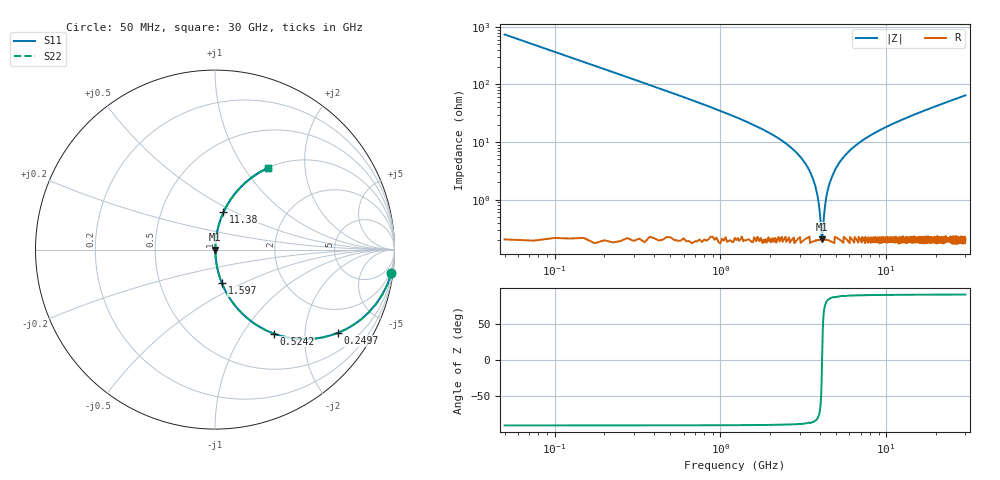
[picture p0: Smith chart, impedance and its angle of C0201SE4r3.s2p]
!	AVX Thin Film Operation 	Date: April 2014
!	Description: Accu-P® Series, Thin Film  SMD RF Capacitor
!	Part Number: 02013K4R3ABSTR
# MHZ S MA R 50
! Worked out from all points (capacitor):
!   1201 points, 50 MHz to 30 GHz, reference 50 ohm
!   read as one part in series: C = 4.3 pF near 199.8 MHz
!   lowest |Z| = 204 mohm at 4.093 GHz (marker M1)
!   series resonance near 4.101 GHz, so ESL is about 350 pH
!   S11 on the Smith chart (normalised r, x): 50 MHz: 1, -15; 249.7 MHz: 1.00, -2.96; 524.2 MHz: 1.00, -1.39; 1.597 GHz: 1.00, -0.39; 11.38 GHz: 1.00, +0.44; 30 GHz: 1.00, +1.30
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50  0.991 -7.7  0.134 82.3  0.134 82.3  0.991 -7.7
249.667  0.828 -34.1  0.56 55.8  0.56 55.8  0.828 -34.1
524.208  0.57 -55.1  0.82 34.7  0.82 34.7  0.57 -55.1
923.542  0.355 -68.9  0.933 20.8  0.933 20.8  0.355 -68.9
1597.417  0.192 -78.3  0.979 11.1  0.979 11.1  0.192 -78.3
2745.5  0.074 -84.2  0.995 4.2  0.995 4.2  0.074 -84.2
3369.458  0.036 -84.7  0.997 2.0  0.997 2.0  0.036 -84.7
3743.833  0.017 -82.1  0.998 0.9  0.998 0.9  0.017 -82.1
3993.417  0.005197 -67.0  0.998 0.3  0.998 0.3  0.005197 -67.0
4093.25  0.002036 -9.7  0.998 0.0  0.998 0.0  0.002036 -9.7
4193.083  0.004471 63.1  0.998 -0.2  0.998 -0.2  0.004471 63.1
4342.833  0.011 78.4  0.998 -0.6  0.998 -0.6  0.011 78.4
4492.583  0.017 82.1  0.998 -0.9  0.998 -0.9  0.017 82.1
5041.667  0.037 84.8  0.997 -2.1  0.997 -2.1  0.037 84.8
5740.5  0.062 84.6  0.996 -3.5  0.996 -3.5  0.062 84.6
6788.75  0.094 83.4  0.994 -5.4  0.994 -5.4  0.094 83.4
10058.29  0.181 78.9  0.981 -10.4  0.981 -10.4  0.181 78.9
11381.08  0.213 77.2  0.975 -12.3  0.975 -12.3  0.213 77.2
15025  0.292 72.6  0.954 -17.0  0.954 -17.0  0.292 72.6
20016.67  0.388 66.9  0.92 -22.8  0.92 -22.8  0.388 66.9
25033.29  0.472 61.6  0.88 -28.1  0.88 -28.1  0.472 61.6
30000  0.543 56.9  0.838 -32.9  0.838 -32.9  0.543 56.9
